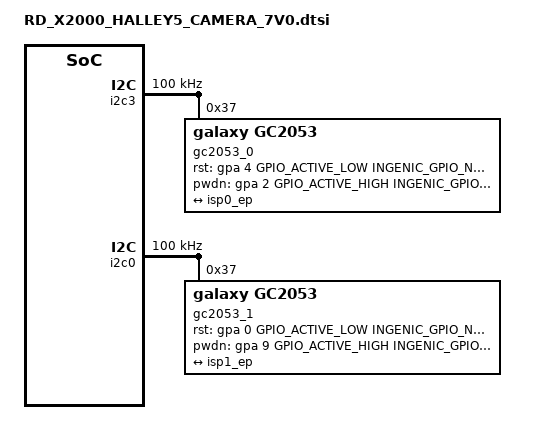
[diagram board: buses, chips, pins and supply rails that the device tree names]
&i2c3 {
	status = "okay";
	clock-frequency = <100000>;
	timeout = <1000>;
	pinctrl-names = "default";
	pinctrl-0 = <&i2c3_pa>;

	/*RD_X2000_HALLEY5_CAMERA_V7.0 MIPI ir interface*/
	gc2053_0:gc2053@37 {
		status = "ok";
		compatible = "galaxy,gc2053";
		reg = <0x37>;
		pinctrl-names = "default";
	//	pinctrl-0 = <&cim1_vic_mclk_pc>;
		ingenic,mclk = <1>;

		ingenic,rst-gpio = <&gpa 4 GPIO_ACTIVE_LOW INGENIC_GPIO_NOBIAS>;
		ingenic,pwdn-gpio = <&gpa 2 GPIO_ACTIVE_HIGH INGENIC_GPIO_NOBIAS>;
	//	ingenic,led-gpio = <&gpb 3 GPIO_ACTIVE_HIGH INGENIC_GPIO_NOBIAS>;

		port {
			gc2053_ep0:endpoint {
				remote-endpoint = <&isp0_ep>;
			};
		};
	};
};
&i2c0 {
	status = "okay";
	clock-frequency = <100000>;
	timeout = <1000>;
	pinctrl-names = "default";
	pinctrl-0 = <&i2c0_pa>;

	/*RD_X2000_HALLEY5_CAMERA_V7.0 MIPI rgb interface*/
	gc2053_1:gc2053@37 {
		status = "ok";
		compatible = "galaxy,gc2053";
		reg = <0x37>;
		pinctrl-names = "default";
		pinctrl-0 = <&cim1_vic_mclk_pc>;
		ingenic,mclk = <1>;

		ingenic,rst-gpio = <&gpa 0 GPIO_ACTIVE_LOW INGENIC_GPIO_NOBIAS>;
		ingenic,pwdn-gpio = <&gpa 9 GPIO_ACTIVE_HIGH INGENIC_GPIO_NOBIAS>;
//		ingenic,led-gpio = <&gpb 4 GPIO_ACTIVE_HIGH INGENIC_GPIO_NOBIAS>;

		port {
			gc2053_ep1:endpoint {
				remote-endpoint = <&isp1_ep>;
			};
		};
	};
};
&isp0_ep {
	remote-endpoint = <&gc2053_ep0>;
	data-lanes = <0 1>;
	clk-lanes = <2>;
};
&isp1_ep {
	remote-endpoint = <&gc2053_ep1>;
	data-lanes = <3 4>;
	clk-lanes = <5>;
};

